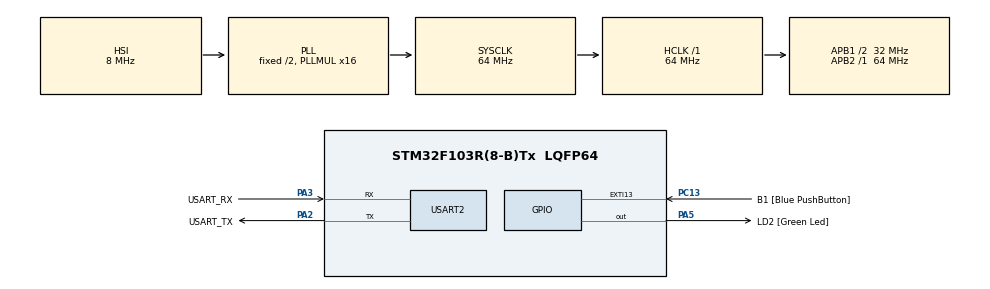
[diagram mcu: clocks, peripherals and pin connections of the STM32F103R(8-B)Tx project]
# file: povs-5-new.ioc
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Dma.Request0=USART2_RX
Dma.Request1=USART2_TX
Dma.USART2_RX.0.Direction=DMA_PERIPH_TO_MEMORY
Dma.USART2_RX.0.Instance=DMA1_Channel6
Dma.USART2_RX.0.MemDataAlignment=DMA_MDATAALIGN_BYTE
Dma.USART2_RX.0.MemInc=DMA_MINC_ENABLE
Dma.USART2_RX.0.Mode=DMA_NORMAL
Dma.USART2_RX.0.PeriphDataAlignment=DMA_PDATAALIGN_BYTE
Dma.USART2_RX.0.PeriphInc=DMA_PINC_DISABLE
Dma.USART2_RX.0.Priority=DMA_PRIORITY_LOW
Dma.USART2_TX.1.Direction=DMA_MEMORY_TO_PERIPH
Dma.USART2_TX.1.Instance=DMA1_Channel7
Dma.USART2_TX.1.MemDataAlignment=DMA_MDATAALIGN_BYTE
Dma.USART2_TX.1.MemInc=DMA_MINC_ENABLE
Dma.USART2_TX.1.Mode=DMA_NORMAL
Dma.USART2_TX.1.PeriphDataAlignment=DMA_PDATAALIGN_BYTE
Dma.USART2_TX.1.PeriphInc=DMA_PINC_DISABLE
Dma.USART2_TX.1.Priority=DMA_PRIORITY_LOW
Mcu.Family=STM32F1
Mcu.Name=STM32F103R(8-B)Tx
Mcu.Package=LQFP64
NVIC.DMA1_Channel6_IRQn=true\:0\:0\:false\:false\:true\:false\:true\:true
NVIC.DMA1_Channel7_IRQn=true\:0\:0\:false\:false\:true\:false\:true\:true
NVIC.EXTI15_10_IRQn=true\:0\:0\:false\:false\:true\:true\:true\:true
NVIC.PriorityGroup=NVIC_PRIORITYGROUP_4
NVIC.USART2_IRQn=true\:0\:0\:false\:false\:true\:true\:true\:true
PA13.GPIO_Label=TMS
PA13.Mode=Serial_Wire
PA13.Signal=SYS_JTMS-SWDIO
PA14.GPIO_Label=TCK
PA14.Mode=Serial_Wire
PA14.Signal=SYS_JTCK-SWCLK
PA2.GPIO_Label=USART_TX
PA2.GPIO_Mode=GPIO_MODE_AF_PP
PA2.GPIO_PuPd=GPIO_NOPULL
PA2.GPIO_Speed=GPIO_SPEED_FREQ_LOW
PA2.Mode=Asynchronous
PA2.Signal=USART2_TX
PA3.GPIO_Label=USART_RX
PA3.GPIO_Mode=GPIO_MODE_AF_PP
PA3.GPIO_PuPd=GPIO_NOPULL
PA3.GPIO_Speed=GPIO_SPEED_FREQ_LOW
PA3.Mode=Asynchronous
PA3.Signal=USART2_RX
PA5.GPIO_Label=LD2 [Green Led]
PA5.GPIO_ModeDefaultOutputPP=GPIO_MODE_OUTPUT_PP
PA5.GPIO_PuPd=GPIO_NOPULL
PA5.GPIO_Speed=GPIO_SPEED_FREQ_LOW
PA5.Signal=GPIO_Output
PB3.GPIO_Label=SWO
PB3.Signal=SYS_JTDO-TRACESWO
PC13-TAMPER-RTC.GPIO_Label=B1 [Blue PushButton]
PC13-TAMPER-RTC.GPIO_PuPd=GPIO_NOPULL
PC13-TAMPER-RTC.Signal=GPXTI13
PC14-OSC32_IN.Mode=LSE-External-Oscillator
PC14-OSC32_IN.Signal=RCC_OSC32_IN
PC15-OSC32_OUT.Mode=LSE-External-Oscillator
PC15-OSC32_OUT.Signal=RCC_OSC32_OUT
PD0-OSC_IN.Mode=HSE-External-Clock-Source
PD0-OSC_IN.Signal=RCC_OSC_IN
PD1-OSC_OUT.Mode=HSE-External-Clock-Source
PD1-OSC_OUT.Signal=RCC_OSC_OUT
ProjectManager.HeapSize=0x200
ProjectManager.StackSize=0x400
ProjectManager.TargetToolchain=Makefile
RCC.AHBFreq_Value=64000000
RCC.APB1CLKDivider=RCC_HCLK_DIV2
RCC.APB1Freq_Value=32000000
RCC.APB1TimFreq_Value=64000000
RCC.APB2Freq_Value=64000000
RCC.APB2TimFreq_Value=64000000
RCC.HCLKFreq_Value=64000000
RCC.PLLMUL=RCC_PLL_MUL16
RCC.RTCClockSelection=RCC_RTCCLKSOURCE_LSE
RCC.SYSCLKFreq_VALUE=64000000
RCC.SYSCLKSource=RCC_SYSCLKSOURCE_PLLCLK
RCC.USBFreq_Value=64000000
USART2.VirtualMode=VM_ASYNC
board=NUCLEO-F103RB

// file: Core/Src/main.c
/* USER CODE BEGIN Header */
/**
  ******************************************************************************
  * @file           : main.c
  * @brief          : Main program body
  ******************************************************************************
  * @attention
  *
  * Copyright (c) 2022 STMicroelectronics.
  * All rights reserved.
  *
  * This software is licensed under terms that can be found in the LICENSE file
  * in the root directory of this software component.
  * If no LICENSE file comes with this software, it is provided AS-IS.
  *
  ******************************************************************************
  */
/* USER CODE END Header */
#include "main.h"

/* USER CODE BEGIN PD */
#define BUF_SIZE 16
/* USER CODE END PD */

UART_HandleTypeDef huart2;
DMA_HandleTypeDef hdma_usart2_rx;
DMA_HandleTypeDef hdma_usart2_tx;

/* USER CODE BEGIN PV */
uint8_t encryptionMode = 1;
uint8_t key = 1;
uint8_t RX_BUF[BUF_SIZE] = {0};
uint8_t TX_BUF[BUF_SIZE] = {0};
/* USER CODE END PV */

void SystemClock_Config(void);
static void MX_GPIO_Init(void);
static void MX_DMA_Init(void);
static void MX_USART2_UART_Init(void);

int main(void)
{

  /* MCU Configuration--------------------------------------------------------*/

  /* Reset of all peripherals, Initializes the Flash interface and the Systick. */
  HAL_Init();

  /* Configure the system clock */
  SystemClock_Config();

  /* Initialize all configured peripherals */
  MX_GPIO_Init();
  MX_DMA_Init();
  MX_USART2_UART_Init();
  /* USER CODE BEGIN 2 */
  HAL_UART_Receive_DMA(&huart2, RX_BUF, sizeof(RX_BUF));
  /* USER CODE END 2 */

  /* Infinite loop */
  while (1)
  {

  }
}

void SystemClock_Config(void)
{
  RCC_OscInitTypeDef RCC_OscInitStruct = {0};
  RCC_ClkInitTypeDef RCC_ClkInitStruct = {0};

  /** Initializes the RCC Oscillators according to the specified parameters
  * in the RCC_OscInitTypeDef structure.
  */
  RCC_OscInitStruct.OscillatorType = RCC_OSCILLATORTYPE_HSI;
  RCC_OscInitStruct.HSIState = RCC_HSI_ON;
  RCC_OscInitStruct.HSICalibrationValue = RCC_HSICALIBRATION_DEFAULT;
  RCC_OscInitStruct.PLL.PLLState = RCC_PLL_ON;
  RCC_OscInitStruct.PLL.PLLSource = RCC_PLLSOURCE_HSI_DIV2;
  RCC_OscInitStruct.PLL.PLLMUL = RCC_PLL_MUL16;
  if (HAL_RCC_OscConfig(&RCC_OscInitStruct) != HAL_OK)
  {
    Error_Handler();
  }

  /** Initializes the CPU, AHB and APB buses clocks
  */
  RCC_ClkInitStruct.ClockType = RCC_CLOCKTYPE_HCLK|RCC_CLOCKTYPE_SYSCLK
                              |RCC_CLOCKTYPE_PCLK1|RCC_CLOCKTYPE_PCLK2;
  RCC_ClkInitStruct.SYSCLKSource = RCC_SYSCLKSOURCE_PLLCLK;
  RCC_ClkInitStruct.AHBCLKDivider = RCC_SYSCLK_DIV1;
  RCC_ClkInitStruct.APB1CLKDivider = RCC_HCLK_DIV2;
  RCC_ClkInitStruct.APB2CLKDivider = RCC_HCLK_DIV1;

  if (HAL_RCC_ClockConfig(&RCC_ClkInitStruct, FLASH_LATENCY_2) != HAL_OK)
  {
    Error_Handler();
  }
}

static void MX_USART2_UART_Init(void)
{

  huart2.Instance = USART2;
  huart2.Init.BaudRate = 115200;
  huart2.Init.WordLength = UART_WORDLENGTH_8B;
  huart2.Init.StopBits = UART_STOPBITS_1;
  huart2.Init.Parity = UART_PARITY_NONE;
  huart2.Init.Mode = UART_MODE_TX_RX;
  huart2.Init.HwFlowCtl = UART_HWCONTROL_NONE;
  huart2.Init.OverSampling = UART_OVERSAMPLING_16;
  if (HAL_UART_Init(&huart2) != HAL_OK)
  {
    Error_Handler();
  }

}

static void MX_DMA_Init(void)
{

  /* DMA controller clock enable */
  __HAL_RCC_DMA1_CLK_ENABLE();

  /* DMA interrupt init */
  /* DMA1_Channel6_IRQn interrupt configuration */
  HAL_NVIC_SetPriority(DMA1_Channel6_IRQn, 0, 0);
  HAL_NVIC_EnableIRQ(DMA1_Channel6_IRQn);
  /* DMA1_Channel7_IRQn interrupt configuration */
  HAL_NVIC_SetPriority(DMA1_Channel7_IRQn, 0, 0);
  HAL_NVIC_EnableIRQ(DMA1_Channel7_IRQn);

}

static void MX_GPIO_Init(void)
{
  GPIO_InitTypeDef GPIO_InitStruct = {0};

  /* GPIO Ports Clock Enable */
  __HAL_RCC_GPIOC_CLK_ENABLE();
  __HAL_RCC_GPIOD_CLK_ENABLE();
  __HAL_RCC_GPIOA_CLK_ENABLE();
  __HAL_RCC_GPIOB_CLK_ENABLE();

  /*Configure GPIO pin Output Level */
  HAL_GPIO_WritePin(LD2_GPIO_Port, LD2_Pin, GPIO_PIN_RESET);

  /*Configure GPIO pin : B1_Pin */
  GPIO_InitStruct.Pin = B1_Pin;
  GPIO_InitStruct.Mode = GPIO_MODE_IT_RISING;
  GPIO_InitStruct.Pull = GPIO_NOPULL;
  HAL_GPIO_Init(B1_GPIO_Port, &GPIO_InitStruct);

  /*Configure GPIO pin : LD2_Pin */
  GPIO_InitStruct.Pin = LD2_Pin;
  GPIO_InitStruct.Mode = GPIO_MODE_OUTPUT_PP;
  GPIO_InitStruct.Pull = GPIO_NOPULL;
  GPIO_InitStruct.Speed = GPIO_SPEED_FREQ_LOW;
  HAL_GPIO_Init(LD2_GPIO_Port, &GPIO_InitStruct);

  /* EXTI interrupt init*/
  HAL_NVIC_SetPriority(EXTI15_10_IRQn, 0, 0);
  HAL_NVIC_EnableIRQ(EXTI15_10_IRQn);

}

/* USER CODE BEGIN 4 */
void HAL_UART_RxHalfCpltCallback(UART_HandleTypeDef *huart)
{
}

void HAL_UART_RxCpltCallback(UART_HandleTypeDef *huart)
{
  if (RX_BUF[0] == 0xFA)
  {
    encryptionMode = RX_BUF[1];
    TX_BUF[0] = 0xFA;
  }
  else if (RX_BUF[0] == 0xFB)
  {
    key = RX_BUF[1];
    TX_BUF[0] = 0xFA;
  }
  else
  {
    int8_t shift = key;
    if (!encryptionMode)
    {
      shift = -key;
    }

    for (uint8_t i = 0; i < BUF_SIZE; i++)
    {
      if (RX_BUF[i] >= 'A' && RX_BUF[i] <= 'Z')
      {
        if (RX_BUF[i] + shift > 'Z')
        {
          TX_BUF[i] = RX_BUF[i] + shift - 26;
        }
        else if (RX_BUF[i] + shift < 'A')
        {
          TX_BUF[i] = RX_BUF[i] + shift + 26;
        }
        else
        {
          TX_BUF[i] = RX_BUF[i] + shift;
        }
      }
      else
      {
        TX_BUF[i] = RX_BUF[i];
      }
    }
  }
  HAL_UART_Transmit_DMA(&huart2, TX_BUF, sizeof(TX_BUF));
  HAL_UART_Receive_DMA(&huart2, RX_BUF, sizeof(RX_BUF));
}

void HAL_UART_TxHalfCpltCallback(UART_HandleTypeDef *huart)
{
}

void HAL_UART_TxCpltCallback(UART_HandleTypeDef *huart)
{
  for (int i = 0; i < BUF_SIZE; i++)
  {
    TX_BUF[i] = 0;
  }
}
/* USER CODE END 4 */

void Error_Handler(void)
{
  __disable_irq();
  while (1)
  {
  }
}
